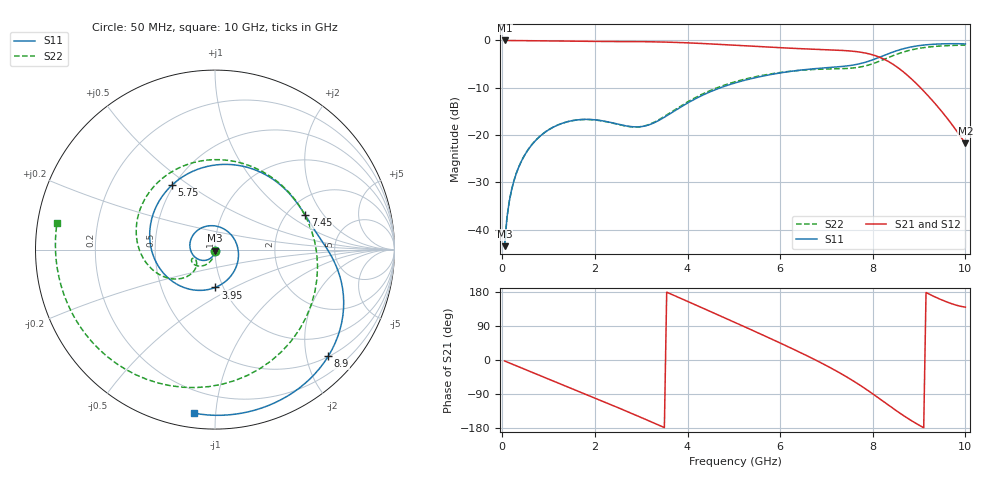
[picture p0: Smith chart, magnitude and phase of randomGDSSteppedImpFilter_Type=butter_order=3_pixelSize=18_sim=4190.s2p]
! freq	dB(S11)	phase(S11)	dB(S12)	phase(S12)
!  dB(S21)	phase(S21)	dB(S22)	phase(S22)
!S-par simulation data
#  GHz  S  DB  R 50
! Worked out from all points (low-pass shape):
!   200 points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, 50 MHz to 10 GHz, reference 50 ohm
!   highest |S21| = 0.00 dB at 50 MHz (marker M1); lowest = -21.7 dB at 10 GHz (marker M2)
!   |S21| within 3 dB of the highest: start of sweep to 7.984 GHz
!   lowest |S11| = -43.5 dB at 50 MHz (marker M3), VSWR 1.01, Z = 50 - j0.669 ohm
!   |S11| at or under -10 dB: start of sweep to 4.711 GHz
!   |S22| runs from -43.5 to -1.0 dB; largest |S21 - S12| = 0
!   S11 on the Smith chart (normalised r, x): 50 MHz: 1.00, -0.01; 3.95 GHz: 0.92, -0.40; 5.75 GHz: 0.49, +0.43; 7.45 GHz: 2.50, +1.35; 8.9 GHz: 0.51, -2.43; 10 GHz: 0.08, -0.87
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0.05  -43.49 -92.3  -0.00 -2.6  -0.00 -2.6  -43.46 -91.0
0.1  -37.53 -95.7  -0.01 -5.1  -0.01 -5.1  -37.51 -93.1
0.2  -31.61 -102.5  -0.02 -10.2  -0.02 -10.2  -31.59 -97.3
0.5  -23.97 -122.2  -0.05 -25.3  -0.05 -25.3  -23.94 -109.2
1.15  -18.09 -164.8  -0.14 -57.8  -0.14 -57.8  -18.08 -132.5
1.75  -16.69 152.6  -0.20 -87.8  -0.20 -87.8  -16.71 -149.9
2.5  -17.69 85.4  -0.22 -125.8  -0.22 -125.8  -17.75 -158.1
3.4  -16.80 -29.4  -0.32 -173.0  -0.32 -173.0  -16.65 -136.7
3.95  -13.53 -89.5  -0.49 157.4  -0.49 157.4  -13.29 -136.1
4.55  -10.61 -142.6  -0.76 124.9  -0.76 124.9  -10.35 -148.4
5.05  -8.91 177.2  -1.03 97.7  -1.03 97.7  -8.67 -162.9
5.75  -7.30 124.0  -1.41 59.0  -1.41 59.0  -7.15 172.7
6.25  -6.51 88.4  -1.66 30.5  -1.66 30.5  -6.48 151.5
6.7  -6.01 59.3  -1.85 3.9  -1.85 3.9  -6.14 127.4
7.1  -5.70 36.9  -2.00 -21.4  -2.00 -21.4  -6.02 99.4
7.45  -5.38 20.8  -2.18 -45.6  -2.18 -45.6  -5.92 66.9
7.95  -4.27 2.3  -2.91 -85.1  -2.91 -85.1  -5.08 4.8
8.35  -2.76 -14.5  -4.52 -120.1  -4.52 -120.1  -3.56 -50.3
8.6  -1.92 -27.2  -6.17 -141.5  -6.17 -141.5  -2.64 -81.3
8.9  -1.24 -43.2  -8.73 -164.9  -8.73 -164.9  -1.85 -113.0
9.4  -0.76 -68.7  -13.97 163.3  -13.97 163.3  -1.22 -153.7
10  -0.74 -97.5  -21.75 139.4  -21.75 139.4  -0.99 170.5
